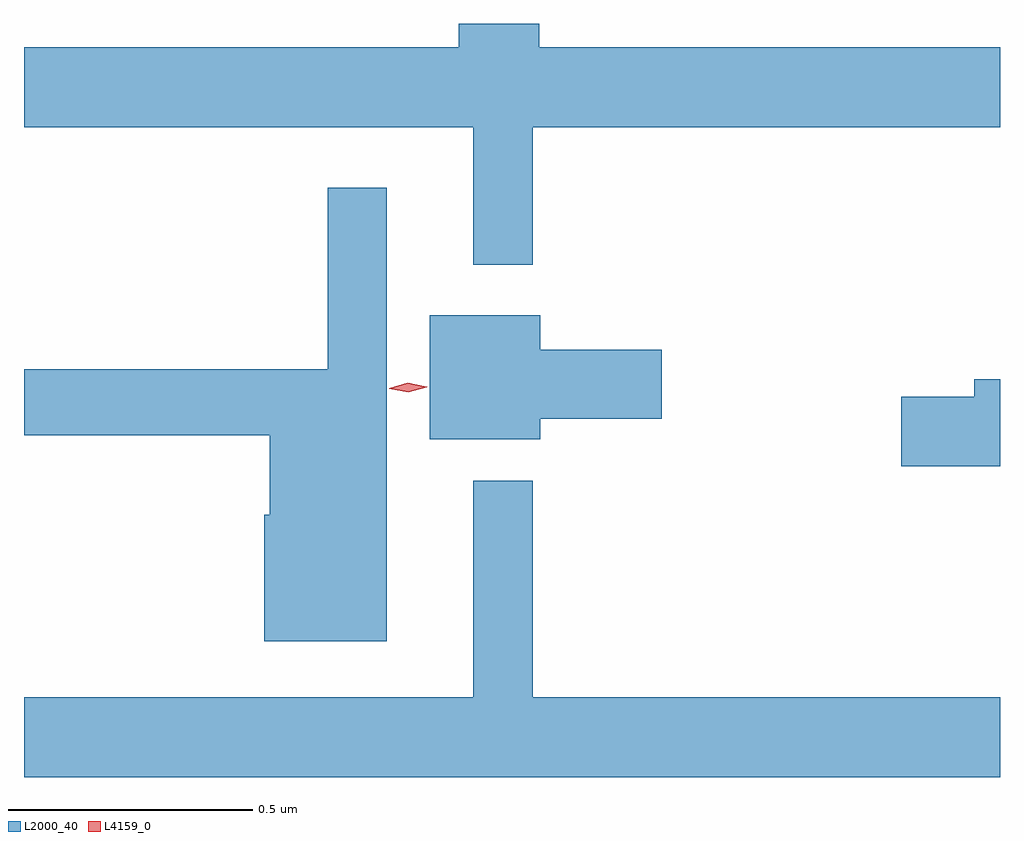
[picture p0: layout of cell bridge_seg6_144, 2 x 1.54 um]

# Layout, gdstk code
import gdstk
lib = gdstk.Library(unit=1e-6, precision=1e-09)
def P(c, l, *ps):  # polygons
    for p in ps: c.add(gdstk.Polygon(p, *l))
L2000_40 = (2000, 40)
L4159_0 = (4159, 0)

bridge_seg6_144 = lib.new_cell('bridge_seg6_144')
P(bridge_seg6_144, L2000_40, [(531.991,995.288),(532.948,995.288),(532.948,995.452),(532.004,995.452),(532.004,995.501),(531.839,995.501),(531.839,995.452),(530.948,995.452),(530.948,995.288),(531.869,995.288),(531.869,995.007),(531.991,995.007)],
  [(531.691,995.164),(531.57,995.164),(531.57,994.793),(530.948,994.793),(530.948,994.657),(531.452,994.657),(531.452,994.494),(531.44,994.494),(531.44,994.235),(531.691,994.235)],
  [(532.006,994.691),(532.255,994.691),(532.255,994.833),(532.006,994.833),(532.006,994.903),(531.779,994.903),(531.779,994.649),(532.006,994.649)],
  [(532.948,994.772),(532.895,994.772),(532.895,994.736),(532.746,994.736),(532.746,994.594),(532.948,994.594)],
  [(532.948,994.12),(531.991,994.12),(531.991,994.564),(531.869,994.564),(531.869,994.12),(530.948,994.12),(530.948,993.956),(532.948,993.956)])
P(bridge_seg6_144, L4159_0, [(531.735,994.745),(531.696,994.753),(531.696,994.754),(531.696,994.754),(531.734,994.765),(531.773,994.757),(531.774,994.757),(531.773,994.756)])

lib.write_gds('bridge_seg6_144.gds')
